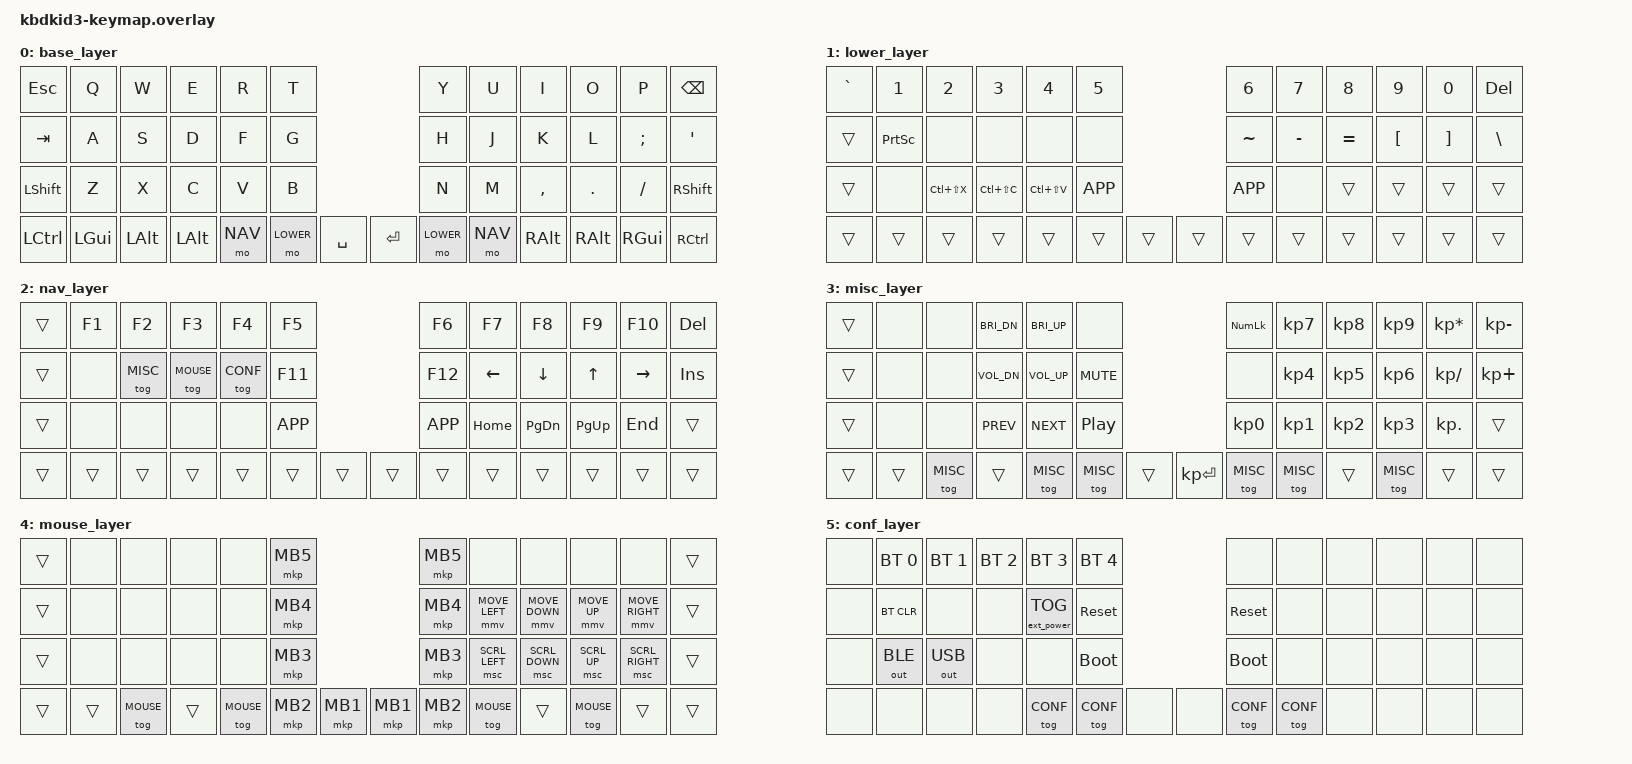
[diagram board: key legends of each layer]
/*
 * Copyright (c) 2023 Tubbles
 *
 * SPDX-License-Identifier: MIT
 */

#include <behaviors.dtsi>
#include <dt-bindings/zmk/bt.h>
#include <dt-bindings/zmk/ext_power.h>
#include <dt-bindings/zmk/keys.h>
#include <dt-bindings/zmk/outputs.h>

#define ZMK_POINTING_DEFAULT_MOVE_VAL 600  // default: 600
#define ZMK_POINTING_DEFAULT_SCRL_VAL 600  // default: 10

#include <dt-bindings/zmk/pointing.h>
#include <input/processors.dtsi>

#define BASE    0
#define LOWER   1
#define NAV     2
#define MISC    3
#define MOUSE   4
#define CONF    5

/ {
    keymap {
        compatible = "zmk,keymap";
        base_layer {
            bindings = <
                &kp ESC    &kp Q     &kp W     &kp E     &kp R    &kp T                          &kp Y      &kp U    &kp I      &kp O     &kp P      &kp BSPC
                &kp TAB    &kp A     &kp S     &kp D     &kp F    &kp G                          &kp H      &kp J    &kp K      &kp L     &kp SEMI   &kp SQT
                &kp LSHFT  &kp Z     &kp X     &kp C     &kp V    &kp B                          &kp N      &kp M    &kp COMMA  &kp DOT   &kp SLASH  &kp RSHFT
                &kp LCTRL  &kp LGUI  &kp LALT  &kp LALT  &mo NAV  &mo LOWER  &kp SPACE  &kp RET  &mo LOWER  &mo NAV  &kp RALT   &kp RALT  &kp RGUI   &kp RCTRL
            >;
        };
        lower_layer {
            bindings = <
                &kp GRAVE  &kp N1     &kp N2         &kp N3         &kp N4         &kp N5                     &kp N6     &kp N7     &kp N8     &kp N9    &kp N0    &kp DEL
                &trans     &kp PSCRN  &none          &none          &none          &none                      &kp TILDE  &kp MINUS  &kp EQUAL  &kp LBKT  &kp RBKT  &kp BSLH
                &trans     &none      &kp LC(LS(X))  &kp LC(LS(C))  &kp LC(LS(V))  &kp K_APP                  &kp K_APP  &none      &trans     &trans    &trans    &trans
                &trans     &trans     &trans         &trans         &trans         &trans     &trans  &trans  &trans     &trans     &trans     &trans    &trans    &trans
            >;
        };
        nav_layer {
            bindings = <
                &trans  &kp F1  &kp F2     &kp F3      &kp F4     &kp F5                     &kp F6     &kp F7    &kp F8     &kp F9     &kp F10    &kp DEL
                &trans  &none   &tog MISC  &tog MOUSE  &tog CONF  &kp F11                    &kp F12    &kp LEFT  &kp DOWN   &kp UP     &kp RIGHT  &kp INS
                &trans  &none   &none      &none       &none      &kp K_APP                  &kp K_APP  &kp HOME  &kp PG_DN  &kp PG_UP  &kp END    &trans
                &trans  &trans  &trans     &trans      &trans     &trans     &trans  &trans  &trans     &trans    &trans     &trans     &trans     &trans
            >;
        };
        misc_layer {
            bindings = <
                &trans  &none   &none      &kp C_BRI_DN  &kp C_BRI_UP  &none                             &kp KP_NLCK  &kp KP_N7  &kp KP_N8  &kp KP_N9  &kp KP_MULTIPLY  &kp KP_MINUS
                &trans  &none   &none      &kp C_VOL_DN  &kp C_VOL_UP  &kp C_MUTE                        &none        &kp KP_N4  &kp KP_N5  &kp KP_N6  &kp KP_DIVIDE    &kp KP_PLUS
                &trans  &none   &none      &kp C_PREV    &kp C_NEXT    &kp C_PP                          &kp KP_N0    &kp KP_N1  &kp KP_N2  &kp KP_N3  &kp KP_DOT       &trans
                &trans  &trans  &tog MISC  &trans        &tog MISC     &tog MISC   &trans  &kp KP_ENTER  &tog MISC    &tog MISC  &trans     &tog MISC  &trans           &trans
            >;
        };
        mouse_layer {
            bindings = <
                &trans  &none   &none       &none   &none       &mkp MB5                      &mkp MB5  &none           &none           &none         &none            &trans
                &trans  &none   &none       &none   &none       &mkp MB4                      &mkp MB4  &mmv MOVE_LEFT  &mmv MOVE_DOWN  &mmv MOVE_UP  &mmv MOVE_RIGHT  &trans
                &trans  &none   &none       &none   &none       &mkp MB3                      &mkp MB3  &msc SCRL_LEFT  &msc SCRL_DOWN  &msc SCRL_UP  &msc SCRL_RIGHT  &trans
                &trans  &trans  &tog MOUSE  &trans  &tog MOUSE  &mkp MB2  &mkp MB1  &mkp MB1  &mkp MB2  &tog MOUSE      &trans          &tog MOUSE    &trans           &trans
            >;
        };
        conf_layer {
            bindings = <
                &none  &bt BT_SEL 0  &bt BT_SEL 1  &bt BT_SEL 2  &bt BT_SEL 3       &bt BT_SEL 4                &none        &none      &none  &none  &none  &none
                &none  &bt BT_CLR    &none         &none         &ext_power EP_TOG  &sys_reset                  &sys_reset   &none      &none  &none  &none  &none
                &none  &out OUT_BLE  &out OUT_USB  &none         &none              &bootloader                 &bootloader  &none      &none  &none  &none  &none
                &none  &none         &none         &none         &tog CONF          &tog CONF     &none  &none  &tog CONF    &tog CONF  &none  &none  &none  &none
            >;
        };
    };
};
